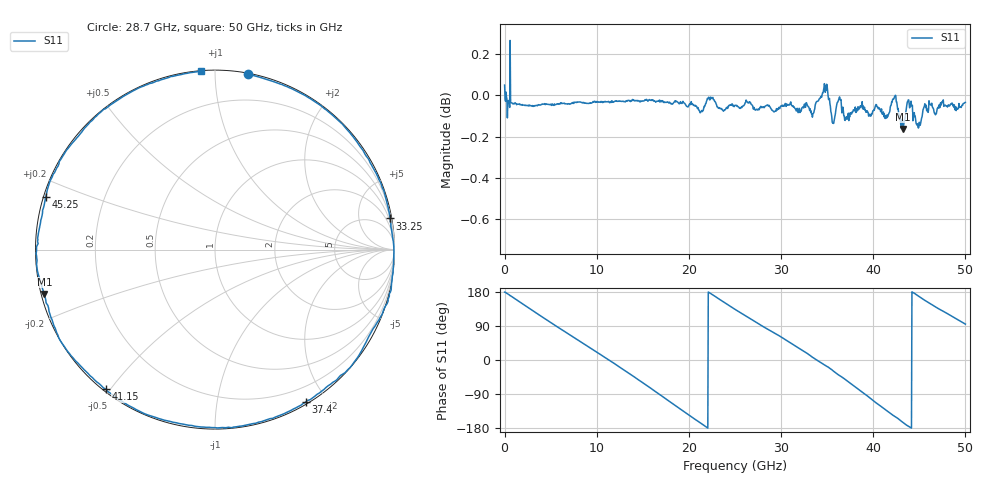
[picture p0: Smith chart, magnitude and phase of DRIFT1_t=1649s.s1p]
!Created with skrf (http://scikit-rf.org).
# Hz S RI R 50.0
!freq ReS11 ImS11
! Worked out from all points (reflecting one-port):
!   1001 points, 300 kHz to 50 GHz, reference 50 ohm
!   lowest |S11| = -0.2 dB at 43.25 GHz (marker M1), VSWR 106.99, Z = 0.475 - j6.38 ohm
!   phase of S11 starts at 179 deg and turns -804 deg over the sweep
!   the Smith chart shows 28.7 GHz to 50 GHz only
!   S11 on the Smith chart (normalised r, x): 28.7 GHz: 0.01, +1.21; 33.25 GHz: 1, +11; 37.4 GHz: 0.02, -1.76; 41.15 GHz: 0.01, -0.49; 45.25 GHz: 0.01, +0.15; 50 GHz: 0.00, +0.92
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300000  -1.006 0.0161
1.70029e9  -0.8802 0.464
3.550279e9  -0.5287 0.842
6.250262e9  0.1848 0.9782
7.900253e9  0.592 0.8015
9.700242e9  0.8982 0.4317
1.250022e10  0.9418 -0.3264
1.400022e10  0.7245 -0.6856
1.58502e10  0.2691 -0.9602
1.72502e10  -0.1446 -0.9859
1.875019e10  -0.5581 -0.8254
2.035018e10  -0.8749 -0.4746
2.195017e10  -0.9966 -0.0363
2.500015e10  -0.6878 0.7183
2.680014e10  -0.289 0.952
2.870013e10  0.1861 0.9769
3.125011e10  0.7438 0.6594
3.32501e10  0.9761 0.1734
3.510009e10  0.9483 -0.317
3.740008e10  0.5052 -0.8501
3.750008e10  0.4783 -0.8672
3.925006e10  -0.0464 -0.9902
4.115005e10  -0.6094 -0.778
4.325004e10  -0.95 -0.2466
4.375004e10  -0.9909 -0.1067
4.525003e10  -0.9436 0.291
4.750002e10  -0.6379 0.765
5e10  -0.0806 0.9928
